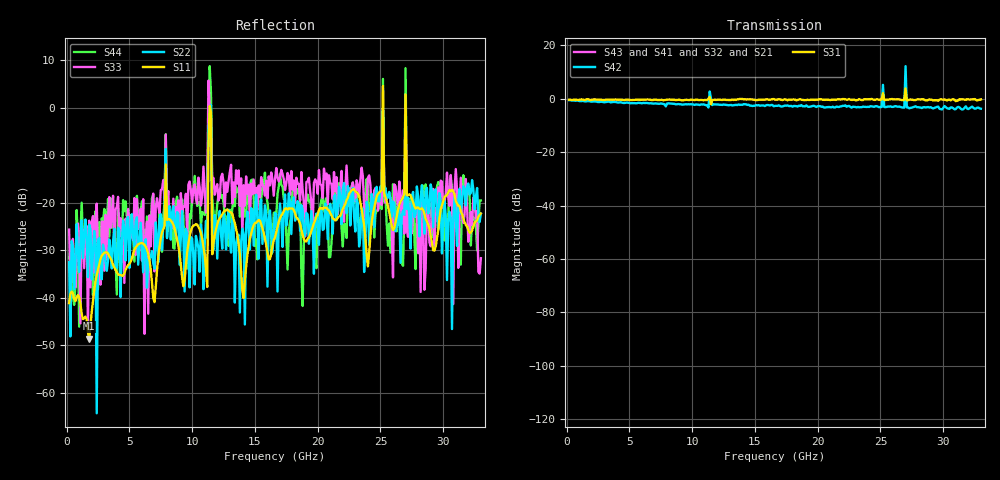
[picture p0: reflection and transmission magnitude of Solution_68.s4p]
# GHZ S RI R 50
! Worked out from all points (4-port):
!   329 points, 200 MHz to 33 GHz, reference 50 ohm
!   strongest paths, dB at 200 MHz, 8.4 GHz, 16.6 GHz, 24.8 GHz, 33 GHz:
!     S31: -0.4, -0.4, -0.3, -0.2, -0.2
!     S42: -0.5, -1.8, -2.7, -3.0, -3.7
!     S43: -, -, -, -, -
!     S41: -, -, -, -, -
!     S32: -, -, -, -, -
!     S21: -, -, -, -, -
!   lowest |S11| = -48.6 dB at 1.8 GHz (marker M1), VSWR 1.01, Z = 49.7 + j0.24 ohm
!   |S11| at or under -10 dB: start of sweep to 11.29 GHz; 11.53 GHz to 25.13 GHz (13.6 GHz wide, 74.2 % of centre); 27.06 GHz to end of sweep (the widest 3 of 4)
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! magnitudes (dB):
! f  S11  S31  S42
! 200 MHz  -41.1  -0.4  -0.5
! 1.8 GHz  -48.6  -0.3  -0.9
! 2.4 GHz  -35.2  -0.3  -1.1
! 11.2 GHz  -37.7  -0.5  -2.4
! 11.4 GHz  0.4  0.7  2.8
! 14.2 GHz  -36.3  -0.1  -2.0
! 33 GHz  -22.2  -0.2  -3.7
